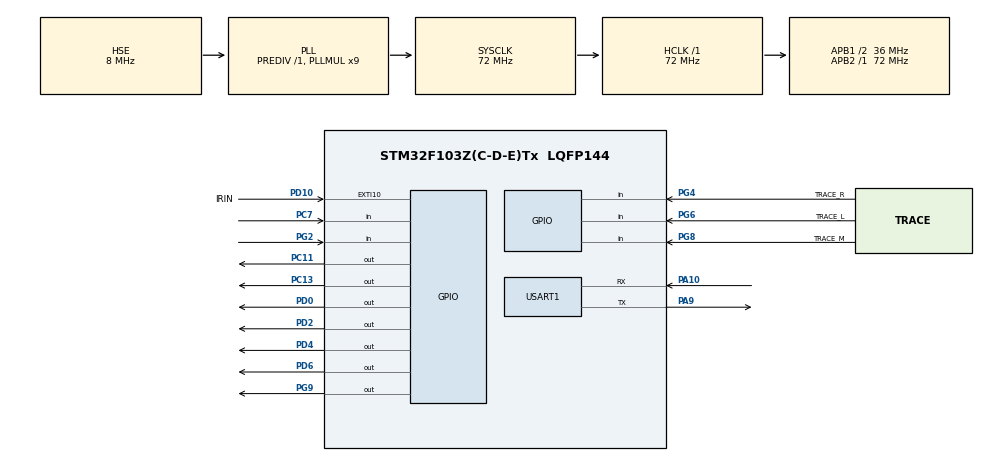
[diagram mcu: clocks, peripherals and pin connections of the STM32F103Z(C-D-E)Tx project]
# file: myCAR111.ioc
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Dma.Request0=USART1_RX
Dma.USART1_RX.0.Direction=DMA_PERIPH_TO_MEMORY
Dma.USART1_RX.0.Instance=DMA1_Channel5
Dma.USART1_RX.0.MemDataAlignment=DMA_MDATAALIGN_BYTE
Dma.USART1_RX.0.MemInc=DMA_MINC_ENABLE
Dma.USART1_RX.0.Mode=DMA_NORMAL
Dma.USART1_RX.0.PeriphDataAlignment=DMA_PDATAALIGN_BYTE
Dma.USART1_RX.0.PeriphInc=DMA_PINC_DISABLE
Dma.USART1_RX.0.Priority=DMA_PRIORITY_LOW
Mcu.Family=STM32F1
Mcu.Name=STM32F103Z(C-D-E)Tx
Mcu.Package=LQFP144
NVIC.DMA1_Channel5_IRQn=true\:0\:0\:false\:false\:true\:false\:true\:true
NVIC.EXTI15_10_IRQn=true\:0\:0\:false\:false\:true\:true\:true\:true
NVIC.PriorityGroup=NVIC_PRIORITYGROUP_4
NVIC.TIM6_IRQn=true\:0\:0\:false\:false\:true\:true\:true\:true
NVIC.TIM7_IRQn=true\:0\:0\:false\:false\:true\:true\:true\:true
NVIC.USART1_IRQn=true\:0\:0\:false\:false\:true\:true\:true\:true
OSC_IN.Mode=HSE-External-Oscillator
OSC_IN.Signal=RCC_OSC_IN
OSC_OUT.Mode=HSE-External-Oscillator
OSC_OUT.Signal=RCC_OSC_OUT
PA10.Mode=Asynchronous
PA10.Signal=USART1_RX
PA13.Mode=Serial_Wire
PA13.Signal=SYS_JTMS-SWDIO
PA14.Mode=Serial_Wire
PA14.Signal=SYS_JTCK-SWCLK
PA9.Mode=Asynchronous
PA9.Signal=USART1_TX
PC11.Signal=GPIO_Output
PC13-TAMPER-RTC.Signal=GPIO_Output
PC7.Signal=GPIO_Input
PD0.Signal=GPIO_Output
PD10.GPIO_Label=IRIN
PD10.GPIO_ModeDefaultEXTI=GPIO_MODE_IT_FALLING
PD10.GPIO_PuPd=GPIO_PULLUP
PD10.Signal=GPXTI10
PD2.Signal=GPIO_Output
PD4.Signal=GPIO_Output
PD6.Signal=GPIO_Output
PG2.Signal=GPIO_Input
PG4.GPIO_Label=TRACE_R
PG4.GPIO_PuPd=GPIO_PULLUP
PG4.Signal=GPIO_Input
PG6.GPIO_Label=TRACE_L
PG6.GPIO_PuPd=GPIO_PULLUP
PG6.Signal=GPIO_Input
PG8.GPIO_Label=TRACE_M
PG8.GPIO_PuPd=GPIO_PULLUP
PG8.Signal=GPIO_Input
PG9.Signal=GPIO_Output
ProjectManager.HeapSize=0x200
ProjectManager.StackSize=0x400
ProjectManager.TargetToolchain=STM32CubeIDE
RCC.AHBFreq_Value=72000000
RCC.APB1CLKDivider=RCC_HCLK_DIV2
RCC.APB1Freq_Value=36000000
RCC.APB1TimFreq_Value=72000000
RCC.APB2Freq_Value=72000000
RCC.APB2TimFreq_Value=72000000
RCC.HCLKFreq_Value=72000000
RCC.PLLMUL=RCC_PLL_MUL9
RCC.PLLSourceVirtual=RCC_PLLSOURCE_HSE
RCC.SYSCLKFreq_VALUE=72000000
RCC.SYSCLKSource=RCC_SYSCLKSOURCE_PLLCLK
RCC.USBFreq_Value=72000000
TIM6.Period=65535
TIM6.Prescaler=72-1
TIM7.Period=10-1
TIM7.Prescaler=72-1
USART1.VirtualMode=VM_ASYNC
VP_TIM6_VS_ClockSourceINT.Mode=Enable_Timer
VP_TIM7_VS_ClockSourceINT.Mode=Enable_Timer
board=custom

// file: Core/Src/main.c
/* USER CODE BEGIN Header */
/**
  ******************************************************************************
  * @file           : main.c
  * @brief          : Main program body
  ******************************************************************************
  * @attention
  *
  * Copyright (c) 2025 STMicroelectronics.
  * All rights reserved.
  *
  * This software is licensed under terms that can be found in the LICENSE file
  * in the root directory of this software component.
  * If no LICENSE file comes with this software, it is provided AS-IS.
  *
  ******************************************************************************
  */
/* USER CODE END Header */
#include "main.h"
#include "dma.h"
#include "tim.h"
#include "usart.h"
#include "gpio.h"

/* USER CODE BEGIN Includes */

#include "M_MOTOR.h"
/* USER CODE END Includes */

/* USER CODE BEGIN PV */
char ReceiveData[DATA_SIZE] = "";
int count = 0;
int speed = 0;
int ccr_l = 0;
int ccr_r = 0;
car_mode Car_Mode = control;
/* USER CODE END PV */

void SystemClock_Config(void);

int main(void)
{

  /* MCU Configuration--------------------------------------------------------*/

  /* Reset of all peripherals, Initializes the Flash interface and the Systick. */
  HAL_Init();

  /* Configure the system clock */
  SystemClock_Config();

  /* Initialize all configured peripherals */
  MX_GPIO_Init();
  MX_DMA_Init();
  MX_TIM7_Init();
  MX_USART1_UART_Init();
  MX_TIM6_Init();
  /* USER CODE BEGIN 2 */
    HAL_TIM_Base_Start_IT(&htim7);

  /* USER CODE END 2 */

  /* Infinite loop */
  /* USER CODE BEGIN WHILE */
  while (1)
  {

      switch(Car_Mode){
          case control:
              HAL_GPIO_TogglePin(GPIOC,GPIO_PIN_13);
              HAL_Delay(50);
              break;
          case trace:
              auto_trace();
              HAL_GPIO_TogglePin(GPIOC,GPIO_PIN_13);
              HAL_Delay(5);
              break;
          case avoid:
              Avoid_obstacle();
              HAL_GPIO_TogglePin(GPIOC,GPIO_PIN_13);
              HAL_Delay(50);
              break;
          default:break;
      }

    /* USER CODE END WHILE */

  }
}

void SystemClock_Config(void)
{
  RCC_OscInitTypeDef RCC_OscInitStruct = {0};
  RCC_ClkInitTypeDef RCC_ClkInitStruct = {0};

  /** Initializes the RCC Oscillators according to the specified parameters
  * in the RCC_OscInitTypeDef structure.
  */
  RCC_OscInitStruct.OscillatorType = RCC_OSCILLATORTYPE_HSE;
  RCC_OscInitStruct.HSEState = RCC_HSE_ON;
  RCC_OscInitStruct.HSEPredivValue = RCC_HSE_PREDIV_DIV1;
  RCC_OscInitStruct.HSIState = RCC_HSI_ON;
  RCC_OscInitStruct.PLL.PLLState = RCC_PLL_ON;
  RCC_OscInitStruct.PLL.PLLSource = RCC_PLLSOURCE_HSE;
  RCC_OscInitStruct.PLL.PLLMUL = RCC_PLL_MUL9;
  if (HAL_RCC_OscConfig(&RCC_OscInitStruct) != HAL_OK)
  {
    Error_Handler();
  }

  /** Initializes the CPU, AHB and APB buses clocks
  */
  RCC_ClkInitStruct.ClockType = RCC_CLOCKTYPE_HCLK|RCC_CLOCKTYPE_SYSCLK
                              |RCC_CLOCKTYPE_PCLK1|RCC_CLOCKTYPE_PCLK2;
  RCC_ClkInitStruct.SYSCLKSource = RCC_SYSCLKSOURCE_PLLCLK;
  RCC_ClkInitStruct.AHBCLKDivider = RCC_SYSCLK_DIV1;
  RCC_ClkInitStruct.APB1CLKDivider = RCC_HCLK_DIV2;
  RCC_ClkInitStruct.APB2CLKDivider = RCC_HCLK_DIV1;

  if (HAL_RCC_ClockConfig(&RCC_ClkInitStruct, FLASH_LATENCY_2) != HAL_OK)
  {
    Error_Handler();
  }
}

void Error_Handler(void)
{
  __disable_irq();
  while (1)
  {
  }
}
